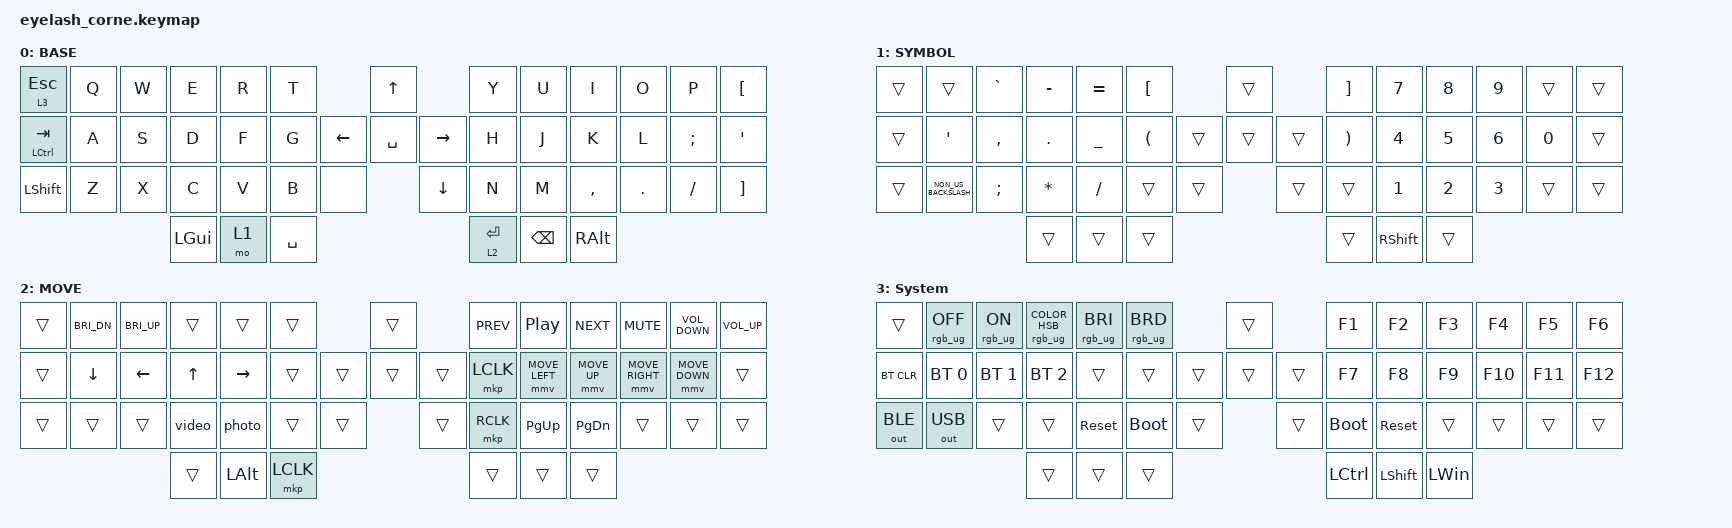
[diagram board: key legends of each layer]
#define ZMK_POINTING_DEFAULT_MOVE_VAL 1200  // 600
#define ZMK_POINTING_DEFAULT_SCRL_VAL 25   // 10

#include <input/processors.dtsi>
#include <zephyr/dt-bindings/input/input-event-codes.h>
#include <behaviors.dtsi>
#include <dt-bindings/zmk/bt.h>
#include <dt-bindings/zmk/keys.h>
#include <dt-bindings/zmk/outputs.h>
#include <dt-bindings/zmk/pointing.h>
#include <dt-bindings/zmk/rgb.h>
#include <behaviors/unicode.dtsi>

&mmv_input_listener { input-processors = <&zip_xy_scaler 2 1>; };

&msc_input_listener { input-processors = <&zip_scroll_scaler 2 1>; };

&msc {
    acceleration-exponent = <1>;      // 0
    time-to-max-speed-ms = <100>;       // 300
    delay-ms = <0>;                   // 0
};

&mmv {
    time-to-max-speed-ms = <500>;
    acceleration-exponent = <1>;
    trigger-period-ms = <16>;
};

&soft_off { hold-time-ms = <2000>; };

/ {
    behaviors {
        td0: td0 {
            compatible = "zmk,behavior-tap-dance";
            display-name = "Shift/Caps Lock Tap Dance";
            #binding-cells = <0>;
            bindings = <&kp LEFT_SHIFT>, <&kp CAPS>;
        };
    };

    rgb_encoder: rgb_encoder {
        compatible = "zmk,behavior-sensor-rotate";
        #sensor-binding-cells = <0>;
        bindings = <&rgb_ug RGB_BRI>, <&rgb_ug RGB_BRD>;
    };

    scroll_encoder: scroll_encoder {
        compatible = "zmk,behavior-sensor-rotate";
        #sensor-binding-cells = <0>;
        bindings = <&msc SCRL_DOWN>, <&msc SCRL_UP>;

        tap-ms = <100>;
    };

    combos { compatible = "zmk,combos"; };

    macros {
        photo: photo {
            compatible = "zmk,behavior-macro";
            #binding-cells = <0>;
            bindings = <&kp LG(LS(LC(N4)))>;
            label = "PHOTO";
        };

        video: video {
            compatible = "zmk,behavior-macro";
            #binding-cells = <0>;
            bindings = <&kp LG(LS(N5))>;
            label = "VIDEO";
        };
    };

    keymap {
        compatible = "zmk,keymap";

        Base_Layer {
            display-name = "BASE";
            bindings = <
&lt 3 ESC             &kp Q  &kp W  &kp E     &kp R  &kp T                         &kp UP                &kp Y        &kp U          &kp I      &kp O    &kp P     &kp LEFT_BRACKET
&mt LEFT_CONTROL TAB  &kp A  &kp S  &kp D     &kp F  &kp G               &kp LEFT  &kp SPACE  &kp RIGHT  &kp H        &kp J          &kp K      &kp L    &kp SEMI  &kp SQT
&kp LEFT_SHIFT        &kp Z  &kp X  &kp C     &kp V  &kp B      &none              &kp DOWN              &kp N        &kp M          &kp COMMA  &kp DOT  &kp FSLH  &kp RIGHT_BRACKET
                                    &kp LGUI  &mo 1  &kp SPACE                                           &lt 2 ENTER  &kp BACKSPACE  &kp RALT
            >;
        };

        Symbol_Layer {
            bindings = <
&trans  &trans                &kp GRAVE      &kp MINUS     &kp EQUAL       &kp LEFT_BRACKET                        &trans          &kp RIGHT_BRACKET      &kp NUMBER_7  &kp NUMBER_8  &kp NUMBER_9  &trans        &trans
&trans  &kp SQT               &kp COMMA      &kp DOT       &kp UNDERSCORE  &kp LEFT_PARENTHESIS            &trans  &trans  &trans  &kp RIGHT_PARENTHESIS  &kp NUMBER_4  &kp NUMBER_5  &kp NUMBER_6  &kp NUMBER_0  &trans
&trans  &kp NON_US_BACKSLASH  &kp SEMICOLON  &kp ASTERISK  &kp SLASH       &trans                &trans            &trans          &trans                 &kp NUMBER_1  &kp NUMBER_2  &kp NUMBER_3  &trans        &trans
                                             &trans        &trans          &trans                                                  &trans                 &kp RSHIFT    &trans
            >;

            label = "SYMBOL";
        };

        Move_Layer {
            bindings = <
&trans  &kp C_BRI_DN  &kp C_BRI_UP  &trans  &trans        &trans                       &trans          &kp C_PREV  &kp C_PLAY_PAUSE  &kp C_NEXT     &kp C_MUTE       &kp C_VOLUME_DOWN  &kp C_VOLUME_UP
&trans  &kp DOWN      &kp LEFT      &kp UP  &kp RIGHT     &trans               &trans  &trans  &trans  &mkp LCLK   &mmv MOVE_LEFT    &mmv MOVE_UP   &mmv MOVE_RIGHT  &mmv MOVE_DOWN     &trans
&trans  &trans        &trans        &video  &photo        &trans     &trans            &trans          &mkp RCLK   &kp PAGE_UP       &kp PAGE_DOWN  &trans           &trans             &trans
                                    &trans  &kp LEFT_ALT  &mkp LCLK                                    &trans      &trans            &trans
            >;

            label = "MOVE";
        };

        System {
            display-name = "System";
            bindings = <
&trans        &rgb_ug RGB_OFF  &rgb_ug RGB_ON  &rgb_ug RGB_COLOR_HSB(0,0,100)  &rgb_ug RGB_BRI  &rgb_ug RGB_BRD                    &trans          &kp F1       &kp F2          &kp F3        &kp F4   &kp F5   &kp F6
&bt BT_CLR    &bt BT_SEL 0     &bt BT_SEL 1    &bt BT_SEL 2                    &trans           &trans                     &trans  &trans  &trans  &kp F7       &kp F8          &kp F9        &kp F10  &kp F11  &kp F12
&out OUT_BLE  &out OUT_USB     &trans          &trans                          &sys_reset       &bootloader      &trans            &trans          &bootloader  &sys_reset      &trans        &trans   &trans   &trans
                                               &trans                          &trans           &trans                                             &kp LCTRL    &kp LEFT_SHIFT  &kp LEFT_WIN
            >;
        };
    };
};
